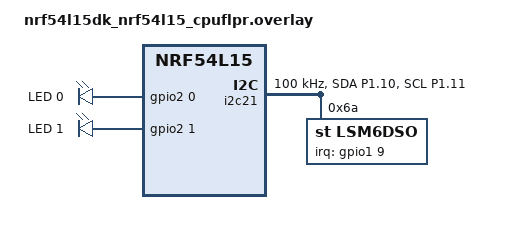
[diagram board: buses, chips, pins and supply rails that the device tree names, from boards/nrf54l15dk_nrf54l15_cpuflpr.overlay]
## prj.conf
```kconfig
CONFIG_PRINTK=y

CONFIG_IPC_SERVICE=y
CONFIG_IPC_SERVICE_BACKEND_ICMSG=y
CONFIG_MBOX=y

CONFIG_LOG=y
CONFIG_ASSERT=y
CONFIG_I2C=y
CONFIG_CBPRINTF_FP_SUPPORT=y
CONFIG_PICOLIBC_IO_FLOAT=y
```

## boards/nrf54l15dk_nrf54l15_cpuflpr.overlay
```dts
/*
 * Copyright (c) 2024 Nordic Semiconductor ASA
 *
 * SPDX-License-Identifier: Apache-2.0
 */

/ {
	soc {
		reserved-memory {
			#address-cells = <1>;
			#size-cells = <1>;

			sram_tx: memory@20018000 {
				reg = <0x20018000 0x0800>;
			};

			sram_rx: memory@20020000 {
				reg = <0x20020000 0x0800>;
			};
		};
	};

	ipc {
		ipc0: ipc0 {
			compatible = "zephyr,ipc-icmsg";
			dcache-alignment = <32>;
			tx-region = <&sram_tx>;
			rx-region = <&sram_rx>;
			mboxes = <&cpuflpr_vevif_rx 21>, <&cpuflpr_vevif_tx 20>;
			mbox-names = "rx", "tx";
			status = "okay";
		};
	};
	aliases {
		led0 = &led0;
		led1 = &led1;
		sensor-i2c = &i2c21;
		accel0 = &lsm6dso;
	};

	leds {
		compatible = "gpio-leds";
		led0: led_0 {
			gpios = <&gpio2 0 GPIO_ACTIVE_HIGH>;
			label = "LED 0";
		};
		led1: led_1 {
			gpios = <&gpio2 1 GPIO_ACTIVE_HIGH>;
			label = "LED 1";
		};
	};
};

&cpuflpr_vevif_rx {
	status = "okay";
};

&cpuflpr_vevif_tx {
	status = "okay";
};

&uart30 {
	/delete-property/ hw-flow-control;
};

&pwm20 {
	status = "disabled";
};

&pinctrl {
	/omit-if-no-ref/ i2c21_default: i2c21_default {
		group1 {
			psels = <NRF_PSEL(TWIM_SDA, 1, 10)>,
				<NRF_PSEL(TWIM_SCL, 1, 11)>;
			bias-pull-up;
		};
	};

	/omit-if-no-ref/ i2c21_sleep: i2c21_sleep {
		group1 {
			psels = <NRF_PSEL(TWIM_SDA, 1, 10)>,
				<NRF_PSEL(TWIM_SCL, 1, 11)>;
			low-power-enable;
		};
	};
};

&i2c21 {
	compatible = "nordic,nrf-twim";
	status = "okay";
	pinctrl-0 = <&i2c21_default>;
	pinctrl-1 = <&i2c21_sleep>;
	pinctrl-names = "default", "sleep";
	clock-frequency = <I2C_BITRATE_STANDARD>;

	lsm6dso: lsm6dso@6a {
		compatible = "st,lsm6dso";
		reg = <0x6a>;
		label = "LSM6DSO";
		irq-gpios = <&gpio1 9 GPIO_ACTIVE_HIGH>;
	};
};
```

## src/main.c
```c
/*
 * Copyright (c) 2024 Nordic Semiconductor ASA
 *
 * SPDX-License-Identifier: Apache-2.0
 */

#include <zephyr/kernel.h>
#include <zephyr/device.h>
#include <zephyr/drivers/gpio.h>
#include <zephyr/drivers/i2c.h>
#include <zephyr/ipc/ipc_service.h>
#include <zephyr/logging/log.h>
#include <string.h>
#include <stdio.h>

LOG_MODULE_REGISTER(remote, LOG_LEVEL_INF);

/* LSM6DSO constant definitions */
#define LSM6DSO_I2C_ADDR    DT_REG_ADDR(DT_NODELABEL(lsm6dso))

#define LSM6DSO_REG_WHO_AM_I 0x0F
#define LSM6DSO_WHO_AM_I_VAL 0x6C

#define LSM6DSO_REG_CTRL1_XL 0x10
#define LSM6DSO_REG_CTRL2_G  0x11
#define LSM6DSO_REG_OUTX_L_XL 0x28

#define LSM6DSO_SENSITIVITY_G (0.000061f)

struct lsm6dso_raw_data {
    int16_t accel_x;
    int16_t accel_y;
    int16_t accel_z;
};

static int lsm6dso_i2c_reg_write_byte(const struct device *i2c_dev, uint8_t reg_addr, uint8_t value)
{
    uint8_t tx_buf[2] = {reg_addr, value};
    return i2c_write(i2c_dev, tx_buf, sizeof(tx_buf), LSM6DSO_I2C_ADDR);
}

static int lsm6dso_i2c_reg_read_byte(const struct device *i2c_dev, uint8_t reg_addr, uint8_t *value)
{
    return i2c_reg_read_byte(i2c_dev, LSM6DSO_I2C_ADDR, reg_addr, value);
}

static int lsm6dso_i2c_reg_read_bytes(const struct device *i2c_dev, uint8_t reg_addr, uint8_t *data, uint8_t len)
{
    return i2c_burst_read(i2c_dev, LSM6DSO_I2C_ADDR, reg_addr, data, len);
}

static int lsm6dso_init(const struct device *i2c_dev)
{
    uint8_t who_am_i = 0;
    int ret;

    LOG_INF("lsm6dso_init: Reading WHO_AM_I...");
    ret = lsm6dso_i2c_reg_read_byte(i2c_dev, LSM6DSO_REG_WHO_AM_I, &who_am_i);
    if (ret != 0) {
        LOG_ERR("Failed to read WHO_AM_I register (err: %d)", ret);
        return ret;
    }
    if (who_am_i != LSM6DSO_WHO_AM_I_VAL) {
        LOG_ERR("Invalid WHO_AM_I: 0x%02x, expected 0x%02x", who_am_i, LSM6DSO_WHO_AM_I_VAL);
        return -ENODEV;
    }
    LOG_INF("LSM6DSO WHO_AM_I check passed. ID: 0x%02x", who_am_i);

    ret = lsm6dso_i2c_reg_write_byte(i2c_dev, LSM6DSO_REG_CTRL1_XL, 0x40);
    if (ret != 0) {
        LOG_ERR("Failed to set CTRL1_XL register (err: %d)", ret);
        return ret;
    }

    ret = lsm6dso_i2c_reg_write_byte(i2c_dev, LSM6DSO_REG_CTRL2_G, 0x40);
    if (ret != 0) {
        LOG_ERR("Failed to set CTRL2_G register (err: %d)", ret);
        return ret;
    }

    LOG_INF("LSM6DSO initialized successfully.");
    return 0;
}

static int lsm6dso_fetch_raw_data(const struct device *i2c_dev, struct lsm6dso_raw_data *raw_data_out)
{
    uint8_t accel_data[6];
    int ret;

    ret = lsm6dso_i2c_reg_read_bytes(i2c_dev, LSM6DSO_REG_OUTX_L_XL, accel_data, 6);
    if (ret != 0) {
        return ret;
    }
    raw_data_out->accel_x = (int16_t)(accel_data[0] | (accel_data[1] << 8));
    raw_data_out->accel_y = (int16_t)(accel_data[2] | (accel_data[3] << 8));
    raw_data_out->accel_z = (int16_t)(accel_data[4] | (accel_data[5] << 8));
    
    return 0;
}

/* The devicetree node identifier for the "led0" and "led1" aliases. */
#define LED0_NODE DT_ALIAS(led0)
#define LED1_NODE DT_ALIAS(led1)

#if !DT_NODE_EXISTS(LED0_NODE)
#error "Unsupported board: led0 devicetree alias is not defined"
#endif

#if !DT_NODE_EXISTS(LED1_NODE)
#error "Unsupported board: led1 devicetree alias is not defined"
#endif

static const struct gpio_dt_spec led0 = GPIO_DT_SPEC_GET(LED0_NODE, gpios);
static const struct gpio_dt_spec led1 = GPIO_DT_SPEC_GET(LED1_NODE, gpios);

#if defined(CONFIG_MULTITHREADING)
K_SEM_DEFINE(bound_sem, 0, 1);
#else
volatile uint32_t bound_sem = 1;
#endif

static void ep_bound(void *priv)
{
#if defined(CONFIG_MULTITHREADING)
	k_sem_give(&bound_sem);
#else
	bound_sem = 0;
#endif
	LOG_INF("Ep bounded");
}

static void ep_recv(const void *data, size_t len, void *priv)
{
	/* Host messages are ignored in this implementation */
}

static struct ipc_ept_cfg ep_cfg = {
	.cb = {
		.bound    = ep_bound,
		.received = ep_recv,
	},
};

static void format_accel(char *buf, size_t buf_size, int16_t raw_val)
{
	int32_t val_millionths = (int32_t)raw_val * 61;
	int32_t val_hundredths;
	if (val_millionths >= 0) {
		val_hundredths = (val_millionths + 5000) / 10000;
	} else {
		val_hundredths = (val_millionths - 5000) / 10000;
	}
	bool is_neg = (val_hundredths < 0);
	int32_t abs_val = is_neg ? -val_hundredths : val_hundredths;
	int integral = abs_val / 100;
	int fractional = abs_val % 100;
	snprintk(buf, buf_size, "%s%d.%02d", is_neg ? "-" : "", integral, fractional);
}

int main(void)
{
	const struct device *ipc0_instance;
	const struct device *i2c_dev = DEVICE_DT_GET(DT_NODELABEL(i2c21));
	struct lsm6dso_raw_data sensor_data;
	struct ipc_ept ep;
	int ret;
	bool led_state = true;

	LOG_INF("RISC-V Alternate LED Blinky with IPC started");

	if (!gpio_is_ready_dt(&led0)) {
		LOG_ERR("LED0 GPIO device not ready");
		return 0;
	}

	if (!gpio_is_ready_dt(&led1)) {
		LOG_ERR("LED1 GPIO device not ready");
		return 0;
	}

	if (!device_is_ready(i2c_dev)) {
		LOG_ERR("I2C device %s is not ready!", i2c_dev->name);
		return 0;
	}

	ret = gpio_pin_configure_dt(&led0, GPIO_OUTPUT_ACTIVE); /* ON initially */
	if (ret < 0) {
		LOG_ERR("Failed to configure LED0");
		return 0;
	}

	ret = gpio_pin_configure_dt(&led1, GPIO_OUTPUT_INACTIVE); /* OFF initially */
	if (ret < 0) {
		LOG_ERR("Failed to configure LED1");
		return 0;
	}

	if (lsm6dso_init(i2c_dev) != 0) {
		LOG_ERR("Failed to initialize LSM6DSO sensor.");
		return 0;
	}

	/* IPC Service setup */
	ipc0_instance = DEVICE_DT_GET(DT_NODELABEL(ipc0));

	ret = ipc_service_open_instance(ipc0_instance);
	if ((ret < 0) && (ret != -EALREADY)) {
		LOG_ERR("ipc_service_open_instance() failure: %d", ret);
		return ret;
	}

	ret = ipc_service_register_endpoint(ipc0_instance, &ep, &ep_cfg);
	if (ret < 0) {
		LOG_ERR("ipc_service_register_endpoint() failure: %d", ret);
		return ret;
	}

#if defined(CONFIG_MULTITHREADING)
	k_sem_take(&bound_sem, K_FOREVER);
#else
	while (bound_sem != 0) {
	};
#endif

	LOG_INF("IPC bound. Commencing alternating LED blinky and state transmission...");

	while (1) {
		/* Toggle state variable */
		led_state = !led_state;

		ret = gpio_pin_set_dt(&led0, led_state ? 1 : 0);
		if (ret < 0) {
			LOG_ERR("Failed to set LED0");
			return 0;
		}
		ret = gpio_pin_set_dt(&led1, led_state ? 0 : 1);
		if (ret < 0) {
			LOG_ERR("Failed to set LED1");
			return 0;
		}

		/* Fetch accelerometer data */
		int16_t rx = 0, ry = 0, rz = 0;
		bool read_success = false;
		if (lsm6dso_fetch_raw_data(i2c_dev, &sensor_data) == 0) {
			rx = sensor_data.accel_x;
			ry = sensor_data.accel_y;
			rz = sensor_data.accel_z;
			read_success = true;
			LOG_INF("Raw accel: %d, %d, %d", rx, ry, rz);
		} else {
			LOG_WRN("Failed to fetch sensor data");
		}

		/* Format status message with Accelerometer values only using helper */
		char msg_buf[64];
		if (read_success) {
			char ax_str[16];
			char ay_str[16];
			char az_str[16];
			format_accel(ax_str, sizeof(ax_str), rx);
			format_accel(ay_str, sizeof(ay_str), ry);
			format_accel(az_str, sizeof(az_str), rz);
			snprintk(msg_buf, sizeof(msg_buf), "RV:%s,%s,%s", ax_str, ay_str, az_str);
		} else {
			snprintk(msg_buf, sizeof(msg_buf), "RV:ERR");
		}
		ret = ipc_service_send(&ep, msg_buf, strlen(msg_buf) + 1);
		if (ret < 0) {
			LOG_ERR("Failed to send IPC message: %d", ret);
		} else {
			LOG_INF("Sent LED/Sensor status: %s", msg_buf);
		}

		k_msleep(1000);
	}

	return 0;
}
```
